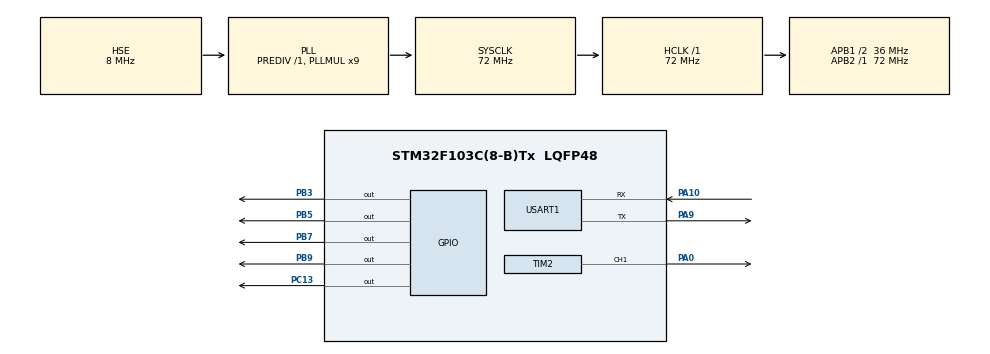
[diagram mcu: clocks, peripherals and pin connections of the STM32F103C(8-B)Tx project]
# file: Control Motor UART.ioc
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Dma.Request0=USART1_RX
Dma.Request1=USART1_TX
Dma.USART1_RX.0.Direction=DMA_PERIPH_TO_MEMORY
Dma.USART1_RX.0.Instance=DMA1_Channel5
Dma.USART1_RX.0.MemDataAlignment=DMA_MDATAALIGN_BYTE
Dma.USART1_RX.0.MemInc=DMA_MINC_ENABLE
Dma.USART1_RX.0.Mode=DMA_NORMAL
Dma.USART1_RX.0.PeriphDataAlignment=DMA_PDATAALIGN_BYTE
Dma.USART1_RX.0.PeriphInc=DMA_PINC_DISABLE
Dma.USART1_RX.0.Priority=DMA_PRIORITY_LOW
Dma.USART1_TX.1.Direction=DMA_MEMORY_TO_PERIPH
Dma.USART1_TX.1.Instance=DMA1_Channel4
Dma.USART1_TX.1.MemDataAlignment=DMA_MDATAALIGN_BYTE
Dma.USART1_TX.1.MemInc=DMA_MINC_ENABLE
Dma.USART1_TX.1.Mode=DMA_NORMAL
Dma.USART1_TX.1.PeriphDataAlignment=DMA_PDATAALIGN_BYTE
Dma.USART1_TX.1.PeriphInc=DMA_PINC_DISABLE
Dma.USART1_TX.1.Priority=DMA_PRIORITY_LOW
Mcu.Family=STM32F1
Mcu.Name=STM32F103C(8-B)Tx
Mcu.Package=LQFP48
NVIC.DMA1_Channel4_IRQn=true\:0\:0\:false\:false\:true\:false\:true\:true
NVIC.DMA1_Channel5_IRQn=true\:0\:0\:false\:false\:true\:false\:true\:true
NVIC.PriorityGroup=NVIC_PRIORITYGROUP_4
NVIC.TIM2_IRQn=true\:1\:0\:true\:false\:true\:true\:true\:true
NVIC.USART1_IRQn=true\:0\:0\:false\:false\:true\:true\:true\:true
PA0-WKUP.Signal=S_TIM2_CH1_ETR
PA10.Mode=Asynchronous
PA10.Signal=USART1_RX
PA13.Mode=Serial_Wire
PA13.Signal=SYS_JTMS-SWDIO
PA14.Mode=Serial_Wire
PA14.Signal=SYS_JTCK-SWCLK
PA9.Mode=Asynchronous
PA9.Signal=USART1_TX
PB3.Signal=GPIO_Output
PB5.Signal=GPIO_Output
PB7.Signal=GPIO_Output
PB9.Signal=GPIO_Output
PC13-TAMPER-RTC.Signal=GPIO_Output
PD0-OSC_IN.Mode=HSE-External-Oscillator
PD0-OSC_IN.Signal=RCC_OSC_IN
PD1-OSC_OUT.Mode=HSE-External-Oscillator
PD1-OSC_OUT.Signal=RCC_OSC_OUT
ProjectManager.HeapSize=0x200
ProjectManager.StackSize=0x400
ProjectManager.TargetToolchain=MDK-ARM V5.32
RCC.AHBFreq_Value=72000000
RCC.APB1CLKDivider=RCC_HCLK_DIV2
RCC.APB1Freq_Value=36000000
RCC.APB1TimFreq_Value=72000000
RCC.APB2Freq_Value=72000000
RCC.APB2TimFreq_Value=72000000
RCC.HCLKFreq_Value=72000000
RCC.PLLMUL=RCC_PLL_MUL9
RCC.PLLSourceVirtual=RCC_PLLSOURCE_HSE
RCC.SYSCLKFreq_VALUE=72000000
RCC.SYSCLKSource=RCC_SYSCLKSOURCE_PLLCLK
RCC.USBFreq_Value=72000000
SH.S_TIM2_CH1_ETR.0=TIM2_CH1,PWM Generation1 CH1
TIM2.Channel-PWM\ Generation1\ CH1=TIM_CHANNEL_1
TIM2.Period=1000-1
TIM2.Prescaler=1440-1
USART1.VirtualMode=VM_ASYNC
VP_TIM2_VS_ClockSourceINT.Mode=Internal
board=custom

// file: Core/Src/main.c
/* USER CODE BEGIN Header */
/**
  ******************************************************************************
  * @file           : main.c
  * @brief          : Main program body
  ******************************************************************************
  * @attention
  *
  * Copyright (c) 2023 STMicroelectronics.
  * All rights reserved.
  *
  * This software is licensed under terms that can be found in the LICENSE file
  * in the root directory of this software component.
  * If no LICENSE file comes with this software, it is provided AS-IS.
  *
  ******************************************************************************
  */
/* USER CODE END Header */
#include "main.h"

TIM_HandleTypeDef htim2;

UART_HandleTypeDef huart1;
DMA_HandleTypeDef hdma_usart1_rx;
DMA_HandleTypeDef hdma_usart1_tx;

/* USER CODE BEGIN PV */

uint8_t data_rx[1]; // 2 byte data number and \n
uint8_t position_x=90;
uint8_t position_y=90;

/* USER CODE END PV */

void SystemClock_Config(void);
static void MX_GPIO_Init(void);
static void MX_DMA_Init(void);
static void MX_USART1_UART_Init(void);
static void MX_TIM2_Init(void);

/* USER CODE BEGIN 0 */

void HAL_UART_RxCpltCallback(UART_HandleTypeDef *huart)
{
	HAL_UART_Receive_IT(&huart1,data_rx,2);
	if(huart ==&huart1)
		{
			switch(data_rx[0])
				{
				case'0':
					GPIOB->ODR=0xfff;
					position_x=position_x;
					position_y=position_y;
					break;
				case '1': // up left corner
					HAL_GPIO_TogglePin(GPIOB,GPIO_PIN_3);
					if(position_x<180){position_x --;}
					if(position_y<180){position_y ++;}
					break;
				case '2': // up right corner
					HAL_GPIO_TogglePin(GPIOB,GPIO_PIN_5);
				  if(position_x>0){position_x ++;}
					if(position_y<180){position_y ++;}
					break;
				case '3': // donw left corner
					HAL_GPIO_TogglePin(GPIOB,GPIO_PIN_7);
					if(position_x<180){position_x --;}
					if(position_y>0){position_y --;}
					break;
				case '4': // donw right corner
					HAL_GPIO_TogglePin(GPIOB,GPIO_PIN_9);
					if(position_x>0){position_x ++;}
					if(position_y>0){position_y --;}
					break;
				}
		}

}
/* USER CODE END 0 */

int main(void)
{

  /* MCU Configuration--------------------------------------------------------*/

  /* Reset of all peripherals, Initializes the Flash interface and the Systick. */
  HAL_Init();

  /* Configure the system clock */
  SystemClock_Config();

  /* Initialize all configured peripherals */
  MX_GPIO_Init();
  MX_DMA_Init();
  MX_USART1_UART_Init();
  MX_TIM2_Init();
  /* USER CODE BEGIN 2 */
	HAL_UART_Receive_IT(&huart1,data_rx,2);
  /* USER CODE END 2 */

  /* Infinite loop */
  /* USER CODE BEGIN WHILE */
  while (1)
  {
		HAL_GPIO_TogglePin(GPIOC,GPIO_PIN_13);
		HAL_Delay(100);
    /* USER CODE END WHILE */

  }
}

void SystemClock_Config(void)
{
  RCC_OscInitTypeDef RCC_OscInitStruct = {0};
  RCC_ClkInitTypeDef RCC_ClkInitStruct = {0};

  /** Initializes the RCC Oscillators according to the specified parameters
  * in the RCC_OscInitTypeDef structure.
  */
  RCC_OscInitStruct.OscillatorType = RCC_OSCILLATORTYPE_HSE;
  RCC_OscInitStruct.HSEState = RCC_HSE_ON;
  RCC_OscInitStruct.HSEPredivValue = RCC_HSE_PREDIV_DIV1;
  RCC_OscInitStruct.HSIState = RCC_HSI_ON;
  RCC_OscInitStruct.PLL.PLLState = RCC_PLL_ON;
  RCC_OscInitStruct.PLL.PLLSource = RCC_PLLSOURCE_HSE;
  RCC_OscInitStruct.PLL.PLLMUL = RCC_PLL_MUL9;
  if (HAL_RCC_OscConfig(&RCC_OscInitStruct) != HAL_OK)
  {
    Error_Handler();
  }

  /** Initializes the CPU, AHB and APB buses clocks
  */
  RCC_ClkInitStruct.ClockType = RCC_CLOCKTYPE_HCLK|RCC_CLOCKTYPE_SYSCLK
                              |RCC_CLOCKTYPE_PCLK1|RCC_CLOCKTYPE_PCLK2;
  RCC_ClkInitStruct.SYSCLKSource = RCC_SYSCLKSOURCE_PLLCLK;
  RCC_ClkInitStruct.AHBCLKDivider = RCC_SYSCLK_DIV1;
  RCC_ClkInitStruct.APB1CLKDivider = RCC_HCLK_DIV2;
  RCC_ClkInitStruct.APB2CLKDivider = RCC_HCLK_DIV1;

  if (HAL_RCC_ClockConfig(&RCC_ClkInitStruct, FLASH_LATENCY_2) != HAL_OK)
  {
    Error_Handler();
  }
}

static void MX_TIM2_Init(void)
{

  TIM_ClockConfigTypeDef sClockSourceConfig = {0};
  TIM_MasterConfigTypeDef sMasterConfig = {0};
  TIM_OC_InitTypeDef sConfigOC = {0};

  htim2.Instance = TIM2;
  htim2.Init.Prescaler = 1440-1;
  htim2.Init.CounterMode = TIM_COUNTERMODE_UP;
  htim2.Init.Period = 1000-1;
  htim2.Init.ClockDivision = TIM_CLOCKDIVISION_DIV1;
  htim2.Init.AutoReloadPreload = TIM_AUTORELOAD_PRELOAD_DISABLE;
  if (HAL_TIM_Base_Init(&htim2) != HAL_OK)
  {
    Error_Handler();
  }
  sClockSourceConfig.ClockSource = TIM_CLOCKSOURCE_INTERNAL;
  if (HAL_TIM_ConfigClockSource(&htim2, &sClockSourceConfig) != HAL_OK)
  {
    Error_Handler();
  }
  if (HAL_TIM_PWM_Init(&htim2) != HAL_OK)
  {
    Error_Handler();
  }
  sMasterConfig.MasterOutputTrigger = TIM_TRGO_RESET;
  sMasterConfig.MasterSlaveMode = TIM_MASTERSLAVEMODE_DISABLE;
  if (HAL_TIMEx_MasterConfigSynchronization(&htim2, &sMasterConfig) != HAL_OK)
  {
    Error_Handler();
  }
  sConfigOC.OCMode = TIM_OCMODE_PWM1;
  sConfigOC.Pulse = 0;
  sConfigOC.OCPolarity = TIM_OCPOLARITY_HIGH;
  sConfigOC.OCFastMode = TIM_OCFAST_DISABLE;
  if (HAL_TIM_PWM_ConfigChannel(&htim2, &sConfigOC, TIM_CHANNEL_1) != HAL_OK)
  {
    Error_Handler();
  }
  HAL_TIM_MspPostInit(&htim2);

}

static void MX_USART1_UART_Init(void)
{

  huart1.Instance = USART1;
  huart1.Init.BaudRate = 115200;
  huart1.Init.WordLength = UART_WORDLENGTH_8B;
  huart1.Init.StopBits = UART_STOPBITS_1;
  huart1.Init.Parity = UART_PARITY_NONE;
  huart1.Init.Mode = UART_MODE_TX_RX;
  huart1.Init.HwFlowCtl = UART_HWCONTROL_NONE;
  huart1.Init.OverSampling = UART_OVERSAMPLING_16;
  if (HAL_UART_Init(&huart1) != HAL_OK)
  {
    Error_Handler();
  }

}

static void MX_DMA_Init(void)
{

  /* DMA controller clock enable */
  __HAL_RCC_DMA1_CLK_ENABLE();

  /* DMA interrupt init */
  /* DMA1_Channel4_IRQn interrupt configuration */
  HAL_NVIC_SetPriority(DMA1_Channel4_IRQn, 0, 0);
  HAL_NVIC_EnableIRQ(DMA1_Channel4_IRQn);
  /* DMA1_Channel5_IRQn interrupt configuration */
  HAL_NVIC_SetPriority(DMA1_Channel5_IRQn, 0, 0);
  HAL_NVIC_EnableIRQ(DMA1_Channel5_IRQn);

}

static void MX_GPIO_Init(void)
{
  GPIO_InitTypeDef GPIO_InitStruct = {0};

  /* GPIO Ports Clock Enable */
  __HAL_RCC_GPIOC_CLK_ENABLE();
  __HAL_RCC_GPIOD_CLK_ENABLE();
  __HAL_RCC_GPIOA_CLK_ENABLE();
  __HAL_RCC_GPIOB_CLK_ENABLE();

  /*Configure GPIO pin Output Level */
  HAL_GPIO_WritePin(GPIOC, GPIO_PIN_13, GPIO_PIN_RESET);

  /*Configure GPIO pin Output Level */
  HAL_GPIO_WritePin(GPIOB, GPIO_PIN_3|GPIO_PIN_5|GPIO_PIN_7|GPIO_PIN_9, GPIO_PIN_RESET);

  /*Configure GPIO pin : PC13 */
  GPIO_InitStruct.Pin = GPIO_PIN_13;
  GPIO_InitStruct.Mode = GPIO_MODE_OUTPUT_PP;
  GPIO_InitStruct.Pull = GPIO_NOPULL;
  GPIO_InitStruct.Speed = GPIO_SPEED_FREQ_LOW;
  HAL_GPIO_Init(GPIOC, &GPIO_InitStruct);

  /*Configure GPIO pins : PB3 PB5 PB7 PB9 */
  GPIO_InitStruct.Pin = GPIO_PIN_3|GPIO_PIN_5|GPIO_PIN_7|GPIO_PIN_9;
  GPIO_InitStruct.Mode = GPIO_MODE_OUTPUT_PP;
  GPIO_InitStruct.Pull = GPIO_NOPULL;
  GPIO_InitStruct.Speed = GPIO_SPEED_FREQ_LOW;
  HAL_GPIO_Init(GPIOB, &GPIO_InitStruct);

}

void Error_Handler(void)
{
  __disable_irq();
  while (1)
  {
  }
}
